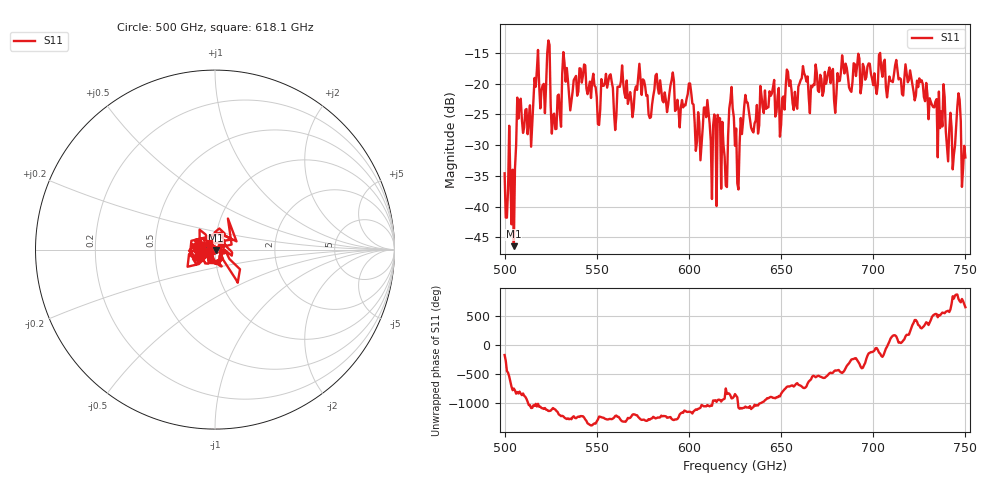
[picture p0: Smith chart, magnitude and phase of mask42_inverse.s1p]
!Created with skrf (http://scikit-rf.org).
# GHz S MA R 50.0
!freq magS11 angS11
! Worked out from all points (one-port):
!   401 points, 500 GHz to 750 GHz, reference 50 ohm
!   lowest |S11| = -46.4 dB at 505 GHz (marker M1), VSWR 1.01, Z = 50.4 - j0.241 ohm
!   |S11| at or under -10 dB: start of sweep to end of sweep
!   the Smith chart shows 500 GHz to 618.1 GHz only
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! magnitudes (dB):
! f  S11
! 500 GHz  -34.6
! 505 GHz  -46.4
! 508.1 GHz  -23.2
! 513.8 GHz  -23.5
! 516.9 GHz  -20.5
! 520.6 GHz  -20.3
! 523.8 GHz  -13.0
! 526.9 GHz  -24.9
! 531.2 GHz  -18.4
! 542.5 GHz  -18.7
! 550.6 GHz  -26.6
! 562.5 GHz  -20.5
! 579.4 GHz  -25.5
! 590.6 GHz  -19.4
! 593.8 GHz  -22.6
! 600.6 GHz  -20.0
! 605 GHz  -24.6
! 609.4 GHz  -25.5
! 620 GHz  -36.6
! 623.1 GHz  -20.5
! 625 GHz  -30.1
! 631.2 GHz  -23.0
! 656.2 GHz  -23.2
! 687.5 GHz  -21.1
! 718.8 GHz  -19.8
! 743.8 GHz  -31.6
! 746.2 GHz  -21.6
! 750 GHz  -32.0
